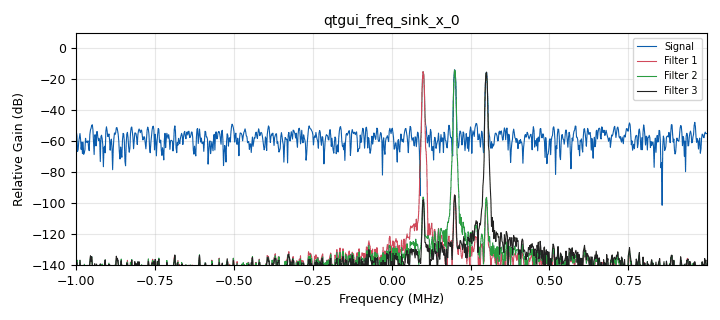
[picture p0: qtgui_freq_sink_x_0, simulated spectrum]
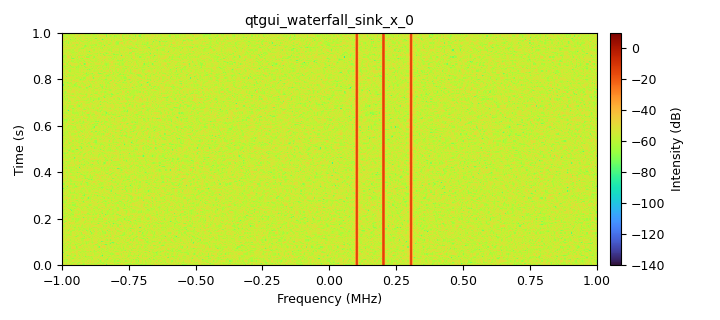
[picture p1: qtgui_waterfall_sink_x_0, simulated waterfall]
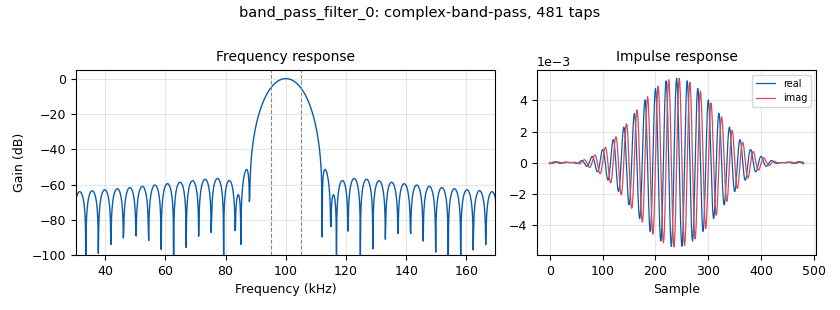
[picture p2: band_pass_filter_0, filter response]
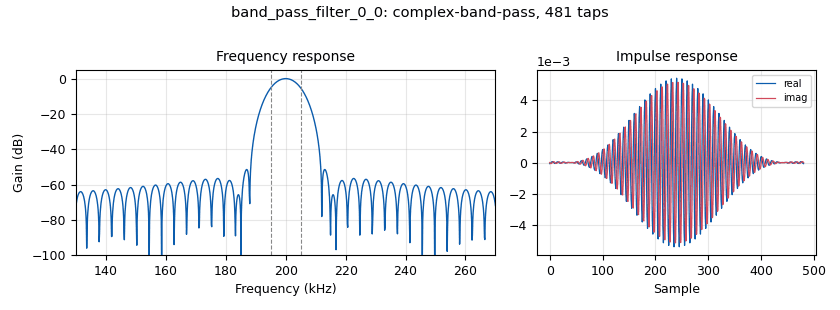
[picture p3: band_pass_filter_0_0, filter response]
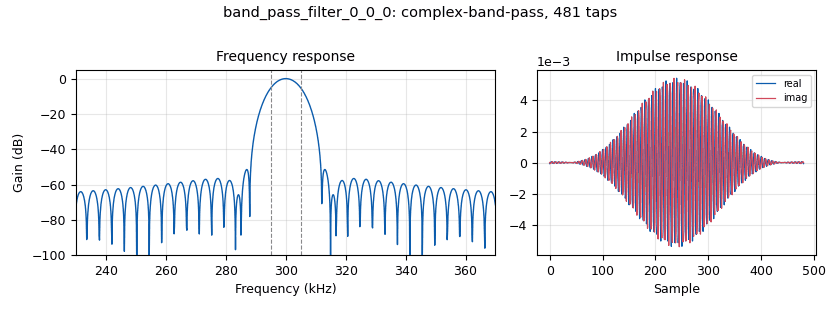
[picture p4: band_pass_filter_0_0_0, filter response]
options:
  parameters:
    generate_options: qt_gui
    id: Beacon_Positioning_Channel_Control
    output_language: python
    title: Beacon Based Position Model For Sim
  states: {}

blocks:
- name: F0
  id: variable_qtgui_range
  parameters:
    gui_hint: 5,0,1,1
    label: frequency 0
    start: '0'
    step: 50e3
    stop: 1e6
    value: 100e3
    widget: counter
  states: {}
- name: F1
  id: variable_qtgui_range
  parameters:
    gui_hint: 5,1,1,1
    label: frequency 1
    start: '0'
    step: 50e3
    stop: 1e6
    value: 200e3
    widget: counter
  states: {}
- name: F2
  id: variable_qtgui_range
  parameters:
    gui_hint: 5,2,1,1
    label: frequency 2
    start: '0'
    step: 50e3
    stop: 1e6
    value: 300e3
    widget: counter
  states: {}
- name: amp0
  id: variable_qtgui_range
  parameters:
    gui_hint: 4,0,1,1
    label: amplitude 0
    start: '0'
    step: '0.001'
    stop: '1'
    value: '0.5'
    widget: counter
  states: {}
- name: amp1
  id: variable_qtgui_range
  parameters:
    gui_hint: 4,1,1,1
    label: amplitude 1
    start: '0'
    step: '0.001'
    stop: '1'
    value: '0.6'
    widget: counter
  states: {}
- name: amp2
  id: variable_qtgui_range
  parameters:
    gui_hint: 4,2,1,1
    label: amplitude 2
    start: '0'
    step: '0.001'
    stop: '1'
    value: '0.5'
    widget: counter
  states: {}
- name: decim
  id: variable
  parameters:
    value: '20000'
  states: {}
- name: f_width
  id: variable
  parameters:
    value: 10e3
  states: {}
- name: noise_amp
  id: variable_qtgui_range
  parameters:
    gui_hint: 6,0,1,1
    label: noise amplitude
    start: '0'
    step: '0.001'
    stop: '1'
    value: '0.1'
    widget: counter
  states: {}
- name: samp_rate
  id: variable
  parameters:
    value: '2000000'
  states: {}
- name: analog_noise_source_x_0
  id: analog_noise_source_x
  parameters:
    amp: noise_amp
    noise_type: analog.GR_GAUSSIAN
    seed: '0'
    type: complex
  states: {}
- name: analog_sig_source_x_0
  id: analog_sig_source_x
  parameters:
    amp: amp0
    freq: F0
    offset: '0'
    phase: '0'
    samp_rate: samp_rate
    type: complex
    waveform: analog.GR_COS_WAVE
  states: {}
- name: analog_sig_source_x_0_0
  id: analog_sig_source_x
  parameters:
    amp: amp1
    freq: F1
    offset: '0'
    phase: '0'
    samp_rate: samp_rate
    type: complex
    waveform: analog.GR_COS_WAVE
  states: {}
- name: analog_sig_source_x_0_1
  id: analog_sig_source_x
  parameters:
    amp: amp2
    freq: F2
    offset: '0'
    phase: '0'
    samp_rate: samp_rate
    type: complex
    waveform: analog.GR_COS_WAVE
  states: {}
- name: band_pass_filter_0
  id: band_pass_filter
  parameters:
    decim: '1'
    gain: '1'
    high_cutoff_freq: F0 + (f_width/2)
    low_cutoff_freq: F0 - (f_width/2)
    samp_rate: samp_rate
    type: fir_filter_ccc
    width: 10e3
    win: window.WIN_HAMMING
  states: {}
- name: band_pass_filter_0_0
  id: band_pass_filter
  parameters:
    decim: '1'
    gain: '1'
    high_cutoff_freq: F1 + (f_width/2)
    low_cutoff_freq: F1 - (f_width/2)
    samp_rate: samp_rate
    type: fir_filter_ccc
    width: 10e3
    win: window.WIN_HAMMING
  states: {}
- name: band_pass_filter_0_0_0
  id: band_pass_filter
  parameters:
    decim: '1'
    gain: '1'
    high_cutoff_freq: F2 + (f_width/2)
    low_cutoff_freq: F2 -  (f_width/2)
    samp_rate: samp_rate
    type: fir_filter_ccc
    width: 10e3
    win: window.WIN_HAMMING
  states: {}
- name: blocks_add_xx_0
  id: blocks_add_xx
  parameters:
    num_inputs: '4'
    type: complex
  states: {}
- name: blocks_complex_to_mag_squared_0
  id: blocks_complex_to_mag_squared
  parameters: {}
  states: {}
- name: blocks_complex_to_mag_squared_0_0
  id: blocks_complex_to_mag_squared
  parameters: {}
  states: {}
- name: blocks_complex_to_mag_squared_0_0_0
  id: blocks_complex_to_mag_squared
  parameters: {}
  states: {}
- name: blocks_keep_one_in_n_0
  id: blocks_keep_one_in_n
  parameters:
    n: decim
    type: float
  states: {}
- name: blocks_keep_one_in_n_0_0
  id: blocks_keep_one_in_n
  parameters:
    n: decim
    type: float
  states: {}
- name: blocks_keep_one_in_n_0_1
  id: blocks_keep_one_in_n
  parameters:
    n: decim
    type: float
  states: {}
- name: blocks_moving_average_xx_0
  id: blocks_moving_average_xx
  parameters:
    length: '10000'
    max_iter: '4000'
    scale: 1/10000
    type: float
  states: {}
- name: blocks_moving_average_xx_0_0
  id: blocks_moving_average_xx
  parameters:
    length: '10000'
    max_iter: '4000'
    scale: 1/10000
    type: float
  states: {}
- name: blocks_moving_average_xx_0_0_0
  id: blocks_moving_average_xx
  parameters:
    length: '10000'
    max_iter: '4000'
    scale: 1/10000
    type: float
  states: {}
- name: blocks_throttle2_0
  id: blocks_throttle2
  parameters:
    samples_per_second: samp_rate
    type: complex
  states: {}
- name: epy_block_0
  id: epy_block
  parameters:
    _source_code: |-
      """
      Embedded Python Blocks:

      Each time this file is saved, GRC will instantiate the first class it finds
      to get ports and parameters of your block. The arguments to __init__  will
      be the parameters. All of them are required to have default values!
      """

      import numpy as np
      from gnuradio import gr


      class blk(gr.sync_block):  # other base classes are basic_block, decim_block, interp_block
          """Embedded Python Block - max power beacon"""

          def __init__(self): #, example_param=1.0):  # only default arguments here
              """arguments to this function show up as parameters in GRC"""
              gr.sync_block.__init__(
                  self,
                  name='Beacon-Based Prediction',   # will show up in GRC
                  in_sig=[np.float32,np.float32,np.float32],
                  out_sig=[np.float32]
              )
              # if an attribute with the same name as a parameter is found,
              # a callback is registered (properties work, too).
              #self.example_param = example_param

          def work(self, input_items, output_items):
              """example: multiply with constant"""
              in0 = input_items[0]
              in1 = input_items[1]
              in2 = input_items[2]

              n = min(len(in0), len(in1), len(in2), len(output_items[0]))

              for i in range(n):
                  values = [in0[i], in1[i], in2[i]]        # values at this index
                  output_items[0][i] = np.argmax(values)   # write directly to output

              return n
  states: {}
- name: filter1_high
  id: parameter
  parameters:
    label: 1st Filter High Cutoff
    short_id: z
    type: eng_float
    value: 90e3
  states: {}
- name: filter1_low
  id: parameter
  parameters:
    label: 1st Filter Low Cutoff
    short_id: x
    type: eng_float
    value: 80e3
  states: {}
- name: filter2_high
  id: parameter
  parameters:
    label: 2nd Filter High Cutoff
    short_id: u
    type: eng_float
    value: 205e3
  states: {}
- name: filter2_low
  id: parameter
  parameters:
    label: 2nd Filter Low Cutoff
    short_id: y
    type: eng_float
    value: 195e3
  states: {}
- name: qtgui_freq_sink_x_0
  id: qtgui_freq_sink_x
  parameters:
    bw: samp_rate
    fc: '0'
    fftsize: '1024'
    grid: 'True'
    label1: Signal
    label2: Filter 1
    label3: Filter 2
    label4: Filter 3
    nconnections: '4'
    type: complex
  states: {}
- name: qtgui_number_sink_0
  id: qtgui_number_sink
  parameters:
    graph_type: qtgui.NUM_GRAPH_HORIZ
    gui_hint: 1,1,3,2
    label1: Value 2
    label2: Value 1
    label3: Value 0
    max: '6'
    name: '"Input Values"'
    nconnections: '3'
    type: float
  states: {}
- name: qtgui_number_sink_1
  id: qtgui_number_sink
  parameters:
    graph_type: qtgui.NUM_GRAPH_VERT
    gui_hint: (1,0,3,1)
    max: '2.5'
    min: '-0.5'
    name: '"ID Selected"'
    type: float
  states: {}
- name: qtgui_waterfall_sink_x_0
  id: qtgui_waterfall_sink_x
  parameters:
    bw: samp_rate
    fc: '0'
    fftsize: '1024'
    type: complex
  states: {}
- name: virtual_sink_0
  id: virtual_sink
  parameters:
    stream_id: Tx_sig
  states: {}
- name: virtual_source_0
  id: virtual_source
  parameters:
    stream_id: Tx_sig
  states: {}
- name: xmlrpc_server_1
  id: xmlrpc_server
  parameters:
    addr: localhost
    port: '8080'
  states: {}
- name: zeromq_pub_sink_0_0
  id: zeromq_pub_sink
  parameters:
    address: tcp://127.0.0.1:55555
    hwm: '1'
    timeout: '100'
    type: float
  states: {}

connections:
- [analog_noise_source_x_0, '0', blocks_add_xx_0, '3']
- [analog_sig_source_x_0, '0', blocks_add_xx_0, '0']
- [analog_sig_source_x_0_0, '0', blocks_add_xx_0, '1']
- [analog_sig_source_x_0_1, '0', blocks_add_xx_0, '2']
- [band_pass_filter_0, '0', blocks_complex_to_mag_squared_0, '0']
- [band_pass_filter_0, '0', qtgui_freq_sink_x_0, '1']
- [band_pass_filter_0_0, '0', blocks_complex_to_mag_squared_0_0, '0']
- [band_pass_filter_0_0, '0', qtgui_freq_sink_x_0, '2']
- [band_pass_filter_0_0_0, '0', blocks_complex_to_mag_squared_0_0_0, '0']
- [band_pass_filter_0_0_0, '0', qtgui_freq_sink_x_0, '3']
- [blocks_add_xx_0, '0', virtual_sink_0, '0']
- [blocks_complex_to_mag_squared_0, '0', blocks_moving_average_xx_0, '0']
- [blocks_complex_to_mag_squared_0_0, '0', blocks_moving_average_xx_0_0, '0']
- [blocks_complex_to_mag_squared_0_0_0, '0', blocks_moving_average_xx_0_0_0, '0']
- [blocks_keep_one_in_n_0, '0', epy_block_0, '0']
- [blocks_keep_one_in_n_0, '0', qtgui_number_sink_0, '2']
- [blocks_keep_one_in_n_0_0, '0', epy_block_0, '1']
- [blocks_keep_one_in_n_0_0, '0', qtgui_number_sink_0, '1']
- [blocks_keep_one_in_n_0_1, '0', epy_block_0, '2']
- [blocks_keep_one_in_n_0_1, '0', qtgui_number_sink_0, '0']
- [blocks_moving_average_xx_0, '0', blocks_keep_one_in_n_0, '0']
- [blocks_moving_average_xx_0_0, '0', blocks_keep_one_in_n_0_0, '0']
- [blocks_moving_average_xx_0_0_0, '0', blocks_keep_one_in_n_0_1, '0']
- [blocks_throttle2_0, '0', band_pass_filter_0, '0']
- [blocks_throttle2_0, '0', band_pass_filter_0_0, '0']
- [blocks_throttle2_0, '0', band_pass_filter_0_0_0, '0']
- [blocks_throttle2_0, '0', qtgui_freq_sink_x_0, '0']
- [blocks_throttle2_0, '0', qtgui_waterfall_sink_x_0, '0']
- [epy_block_0, '0', qtgui_number_sink_1, '0']
- [epy_block_0, '0', zeromq_pub_sink_0_0, '0']
- [virtual_source_0, '0', blocks_throttle2_0, '0']

metadata:
  file_format: 1
  grc_version: 3.10.11.0
